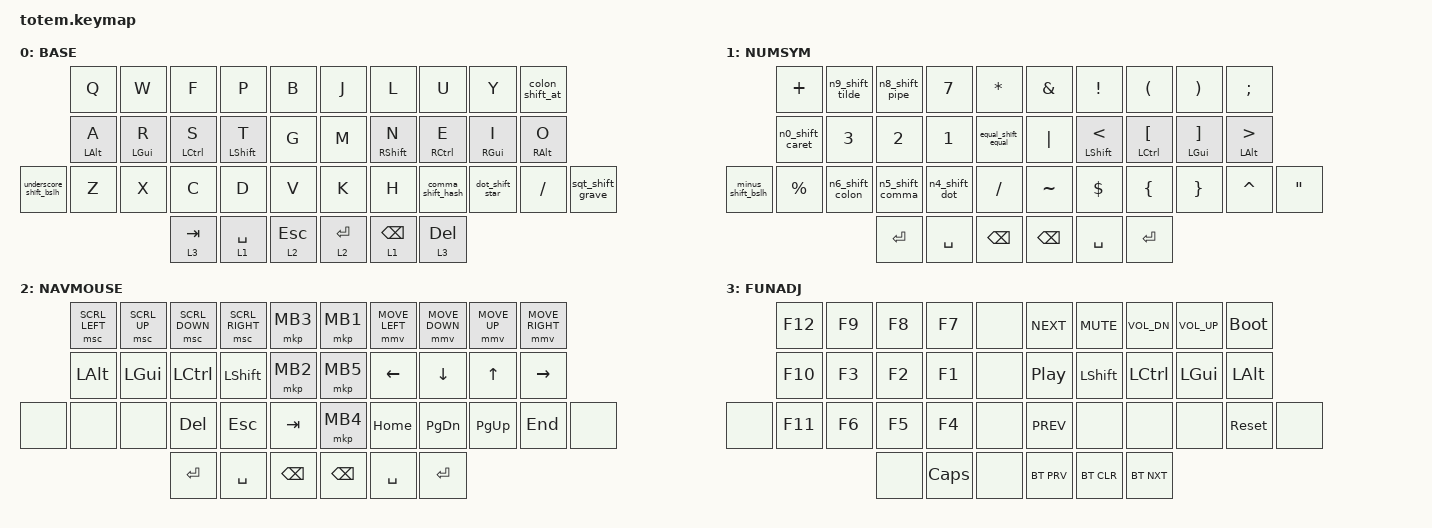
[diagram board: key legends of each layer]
//
//                                                        ▀▀▀▀▀     ▀▀▀▀▀          ▀▀█▀▀
//                                                        ▄▀▀▀▄  ▄  ▄▀▀▀▄  ▄  ▄▀▀▀▄  █  ▄▀▀▀▄
//                                                        █   █  █  █   █  █  █   █  █  █   █
//                                                         ▀▀▀   █   ▀▀▀   █   ▀▀▀   ▀   ▀▀▀
//                                                               █      ▄▄▄█▄▄▄    █   █  
//                                                               ▀      █  █  █     █▄█
//                                                             ▀▀▀▀▀    █  █  █      ▀
//                                                                      ▀  ▀  ▀
//
// ▄▄▄▄▄▄▄▄▄▄▄▄▄▄▄▄▄▄▄▄▄▄▄▄▄▄▄▄▄▄▄▄▄▄▄▄▄▄▄▄▄▄▄▄▄▄▄▄▄▄▄▄▄▄▄▄▄▄▄▄▄▄▄▄▄▄▄▄▄▄▄▄▄▄▄▄▄▄▄▄▄▄▄▄▄▄▄▄▄▄▄▄▄▄▄▄▄▄▄▄▄▄▄▄▄▄▄▄▄▄▄▄▄▄▄▄▄▄▄▄▄▄▄▄▄▄▄▄▄▄▄▄▄▄▄▄▄▄▄▄▄▄▄▄▄▄▄▄▄

#include <behaviors.dtsi>
#include <dt-bindings/zmk/bt.h>
#include <dt-bindings/zmk/keys.h>
#include <dt-bindings/zmk/pointing.h>

&mt {
    quick-tap-ms = <100>;
    global-quick-tap;
    flavor = "tap-preferred";
    tapping-term-ms = <170>;
};

/ {
    combos {
        compatible = "zmk,combos";

        capsword {
            bindings = <&caps_word>;
            key-positions = <20 31>;
        };
    };

    behaviors {
        n4_shift_dot: n4_shift_dot {
            compatible = "zmk,behavior-mod-morph";
            label = "N4_SHIFT_DOT";
            bindings = <&kp NUMBER_4>, <&kp DOT>;

            #binding-cells = <0>;
            mods = <(MOD_LSFT)>;
        };

        n5_shift_comma: n5_shift_comma {
            compatible = "zmk,behavior-mod-morph";
            label = "N5_SHIFT_COMMA";
            bindings = <&kp NUMBER_5>, <&kp COMMA>;

            #binding-cells = <0>;
            mods = <(MOD_LSFT)>;
        };

        n6_shift_colon: n6_shift_colon {
            compatible = "zmk,behavior-mod-morph";
            label = "N6_SHIFT_COLON";
            bindings = <&kp NUMBER_6>, <&kp COLON>;

            #binding-cells = <0>;
            mods = <(MOD_LSFT)>;
        };

        n8_shift_pipe: n8_shift_pipe {
            compatible = "zmk,behavior-mod-morph";
            label = "N8_SHIFT_PIPE";
            bindings = <&kp NUMBER_8>, <&kp PIPE>;

            #binding-cells = <0>;
            mods = <(MOD_LSFT)>;
        };

        n9_shift_tilde: n9_shift_tilde {
            compatible = "zmk,behavior-mod-morph";
            label = "N9_SHIFT_TILDE";
            bindings = <&kp NUMBER_9>, <&kp TILDE>;

            #binding-cells = <0>;
            mods = <(MOD_LSFT)>;
        };

        n0_shift_caret: n0_shift_caret {
            compatible = "zmk,behavior-mod-morph";
            label = "N0_SHIFT_CARET";
            bindings = <&kp NUMBER_0>, <&kp CARET>;

            #binding-cells = <0>;
            mods = <(MOD_LSFT)>;
        };

        colon_shift_at: colon_shift_at {
            compatible = "zmk,behavior-mod-morph";
            label = "COLON_SHIFT_AT";
            bindings = <&kp COLON>, <&kp AT>;

            #binding-cells = <0>;
            mods = <(MOD_LSFT)>;
        };

        comma_shift_hash: comma_shift_hash {
            compatible = "zmk,behavior-mod-morph";
            label = "COMMA_SHIFT_HASH";
            bindings = <&kp COMMA>, <&kp HASH>;

            #binding-cells = <0>;
            mods = <(MOD_LSFT)>;
        };

        dot_shift_star: dot_shift_star {
            compatible = "zmk,behavior-mod-morph";
            label = "DOT_SHIFT_STAR";
            bindings = <&kp DOT>, <&kp STAR>;

            #binding-cells = <0>;
            mods = <(MOD_LSFT)>;
        };

        sqt_shift_grave: sqt_shift_grave {
            compatible = "zmk,behavior-mod-morph";
            label = "SQT_SHIFT_GRAVE";
            bindings = <&kp SQT>, <&kp GRAVE>;

            #binding-cells = <0>;
            mods = <(MOD_LSFT)>;
        };

        underscore_shift_bslh: underscore_shift_bslh {
            compatible = "zmk,behavior-mod-morph";
            label = "UNDERSCORE_SHIFT_BSLH";
            bindings = <&kp UNDERSCORE>, <&kp BSLH>;

            #binding-cells = <0>;
            mods = <(MOD_LSFT)>;
        };

        minus_shift_bslh: minus_shift_bslh {
            compatible = "zmk,behavior-mod-morph";
            label = "MINUS_SHIFT_BSLH";
            bindings = <&kp MINUS>, <&kp BSLH>;

            #binding-cells = <0>;
            mods = <(MOD_LSFT)>;
        };

        equal_shift_equal: equal_shift_equal {
            compatible = "zmk,behavior-mod-morph";
            label = "EQUAL_SHIFT_EQUAL";
            bindings = <&kp EQUAL>, <&kp EQUAL>;

            #binding-cells = <0>;
            mods = <(MOD_LSFT)>;
        };
    };

    keymap {
        compatible = "zmk,keymap";

        // ▄▄▄▄▄▄▄▄▄▄▄▄▄▄▄▄▄▄▄▄▄▄▄▄▄▄▄▄▄▄▄▄▄▄▄▄▄▄▄▄▄▄▄▄▄▄▄▄▄▄▄▄▄▄▄▄▄▄▄▄▄▄▄▄▄▄▄▄▄▄▄▄▄▄▄▄▄▄▄▄▄▄▄▄▄▄▄▄▄▄▄▄▄▄▄▄▄▄▄▄▄▄▄▄▄▄▄▄▄▄▄▄▄▄▄▄▄▄▄▄▄▄▄▄▄▄▄▄▄▄▄▄▄▄▄▄▄▄▄▄▄▄▄▄▄▄▄▄▄

        base_layer {
            // ┏━━━━━━━━━━━━━━━━━━━━━━━━━━━━━━━━━━━━━━━┓

            label = "BASE";

            // ┗━━━━━━━━━━━━━━━━━━━━━━━━━━━━━━━━━━━━━━━┛
            //             ┏━━━━━━━━━━━┳━━━━━━━━━━━┳━━━━━━━━━━━┳━━━━━━━━━━━┳━━━━━━━━━━━┓   ┏━━━━━━━━━━━┳━━━━━━━━━━━┳━━━━━━━━━━━┳━━━━━━━━━━━┳━━━━━━━━━━━┓
            //             ┃     Q     ┃     W     ┃     F     ┃     P     ┃     B     ┃   ┃     J     ┃     L     ┃     U     ┃     Y     ┃     :     ┃
            //             ┣━━━━━━━━━━━╋━━━━━━━━━━━╋━━━━━━━━━━━╋━━━━━━━━━━━╋━━━━━━━━━━━┫   ┣━━━━━━━━━━━╋━━━━━━━━━━━╋━━━━━━━━━━━╋━━━━━━━━━━━╋━━━━━━━━━━━┫
            //             ┃     A     ┃     R     ┃     S     ┃     T     ┃     G     ┃   ┃     M     ┃     N     ┃     E     ┃     I     ┃     O     ┃
            // ┏━━━━━━━━━━━╋━━━━━━━━━━━╋━━━━━━━━━━━╋━━━━━━━━━━━╋━━━━━━━━━━━╋━━━━━━━━━━━┫   ┣━━━━━━━━━━━╋━━━━━━━━━━━╋━━━━━━━━━━━╋━━━━━━━━━━━╋━━━━━━━━━━━╋━━━━━━━━━━━┓
            // ┃     _     ┃     Z     ┃     X     ┃     C     ┃     D     ┃     V     ┃   ┃     K     ┃     H     ┃     ,     ┃     .     ┃     /     ┃     '     ┃
            // ┗━━━━━━━━━━━┻━━━━━━━━━━━┻━━━━━━━━━━━╋━━━━━━━━━━━╋━━━━━━━━━━━╋━━━━━━━━━━━┫   ┣━━━━━━━━━━━╋━━━━━━━━━━━╋━━━━━━━━━━━╋━━━━━━━━━━━┻━━━━━━━━━━━┻━━━━━━━━━━━┛
            //                                     ┃    TAB    ┃    SPC    ┃    ESC    ┃   ┃   ENTER   ┃    BSPC   ┃   DEL     ┃
            //                                     ┗━━━━━━━━━━━┻━━━━━━━━━━━┻━━━━━━━━━━━┛   ┗━━━━━━━━━━━┻━━━━━━━━━━━┻━━━━━━━━━━━┛

            bindings = <
                        &kp Q           &kp W       &kp F        &kp P        &kp B        &kp J        &kp L            &kp U              &kp Y            &colon_shift_at
                        &mt LEFT_ALT A  &mt LGUI R  &mt LCTRL S  &mt LSHFT T  &kp G        &kp M        &mt RSHFT N      &mt RCTRL E        &mt RGUI I       &mt RALT O
&underscore_shift_bslh  &kp Z           &kp X       &kp C        &kp D        &kp V        &kp K        &kp H            &comma_shift_hash  &dot_shift_star  &kp FSLH         &sqt_shift_grave
                                                    &lt 3 TAB    &lt 1 SPACE  &lt 2 ESC    &lt 2 ENTER  &lt 1 BACKSPACE  &lt 3 DEL
            >;
        };

        // ▄▄▄▄▄▄▄▄▄▄▄▄▄▄▄▄▄▄▄▄▄▄▄▄▄▄▄▄▄▄▄▄▄▄▄▄▄▄▄▄▄▄▄▄▄▄▄▄▄▄▄▄▄▄▄▄▄▄▄▄▄▄▄▄▄▄▄▄▄▄▄▄▄▄▄▄▄▄▄▄▄▄▄▄▄▄▄▄▄▄▄▄▄▄▄▄▄▄▄▄▄▄▄▄▄▄▄▄▄▄▄▄▄▄▄▄▄▄▄▄▄▄▄▄▄▄▄▄▄▄▄▄▄▄▄▄▄▄▄▄▄▄▄▄▄▄▄▄▄

        num_sym_layer {
            // ┏━━━━━━━━━━━━━━━━━━━━━━━━━━━━━━━━━━━━━━━┓

            label = "NUMSYM";

            // ┗━━━━━━━━━━━━━━━━━━━━━━━━━━━━━━━━━━━━━━━┛
            //             ┏━━━━━━━━━━━┳━━━━━━━━━━━┳━━━━━━━━━━━┳━━━━━━━━━━━┳━━━━━━━━━━━┓   ┏━━━━━━━━━━━┳━━━━━━━━━━━┳━━━━━━━━━━━┳━━━━━━━━━━━┳━━━━━━━━━━━┓
            //             ┃     +     ┃     9     ┃     8     ┃     7     ┃     *     ┃   ┃     &     ┃     !     ┃     (     ┃     )     ┃     ;     ┃
            //             ┣━━━━━━━━━━━╋━━━━━━━━━━━╋━━━━━━━━━━━╋━━━━━━━━━━━╋━━━━━━━━━━━┫   ┣━━━━━━━━━━━╋━━━━━━━━━━━╋━━━━━━━━━━━╋━━━━━━━━━━━╋━━━━━━━━━━━┫
            //             ┃     0     ┃     3     ┃     2     ┃     1     ┃     =     ┃   ┃     |     ┃     <     ┃     [     ┃     ]     ┃     >     ┃
            // ┏━━━━━━━━━━━╋━━━━━━━━━━━╋━━━━━━━━━━━╋━━━━━━━━━━━╋━━━━━━━━━━━╋━━━━━━━━━━━┫   ┣━━━━━━━━━━━╋━━━━━━━━━━━╋━━━━━━━━━━━╋━━━━━━━━━━━╋━━━━━━━━━━━╋━━━━━━━━━━━┓
            // ┃     -     ┃     %     ┃     6     ┃     5     ┃     4     ┃     /     ┃   ┃     ~     ┃     $     ┃     {     ┃     }     ┃     ^     ┃     "     ┃
            // ┗━━━━━━━━━━━┻━━━━━━━━━━━┻━━━━━━━━━━━╋━━━━━━━━━━━╋━━━━━━━━━━━╋━━━━━━━━━━━┫   ┣━━━━━━━━━━━╋━━━━━━━━━━━╋━━━━━━━━━━━╋━━━━━━━━━━━┻━━━━━━━━━━━┻━━━━━━━━━━━┛
            //                                     ┃   ENTER   ┃    SPC    ┃    BSPC   ┃   ┃    BSPC   ┃    SPC    ┃   ENTER   ┃
            //                                     ┗━━━━━━━━━━━┻━━━━━━━━━━━┻━━━━━━━━━━━┛   ┗━━━━━━━━━━━┻━━━━━━━━━━━┻━━━━━━━━━━━┛

            bindings = <
                   &kp PLUS         &n9_shift_tilde  &n8_shift_pipe   &kp NUMBER_7   &kp ASTRK             &kp AMPS       &kp EXCL      &kp LPAR        &kp RPAR       &kp SEMI
                   &n0_shift_caret  &kp NUMBER_3     &kp NUMBER_2     &kp NUMBER_1   &equal_shift_equal    &kp PIPE       &mt LSHFT LT  &mt LCTRL LBKT  &mt LGUI RBKT  &mt LALT GT
&minus_shift_bslh  &kp PRCNT        &n6_shift_colon  &n5_shift_comma  &n4_shift_dot  &kp FSLH              &kp TILDE      &kp DLLR      &kp LBRC        &kp RBRC       &kp CARET    &kp DQT
                                                     &kp ENTER        &kp SPACE      &kp BACKSPACE         &kp BACKSPACE  &kp SPACE     &kp ENTER
            >;
        };

        // ▄▄▄▄▄▄▄▄▄▄▄▄▄▄▄▄▄▄▄▄▄▄▄▄▄▄▄▄▄▄▄▄▄▄▄▄▄▄▄▄▄▄▄▄▄▄▄▄▄▄▄▄▄▄▄▄▄▄▄▄▄▄▄▄▄▄▄▄▄▄▄▄▄▄▄▄▄▄▄▄▄▄▄▄▄▄▄▄▄▄▄▄▄▄▄▄▄▄▄▄▄▄▄▄▄▄▄▄▄▄▄▄▄▄▄▄▄▄▄▄▄▄▄▄▄▄▄▄▄▄▄▄▄▄▄▄▄▄▄▄▄▄▄▄▄▄▄▄▄

        nav_mouse_layer {
            // ┏━━━━━━━━━━━━━━━━━━━━━━━━━━━━━━━━━━━━━━━┓

            label = "NAVMOUSE";

            // ┗━━━━━━━━━━━━━━━━━━━━━━━━━━━━━━━━━━━━━━━┛
            //             ┏━━━━━━━━━━━┳━━━━━━━━━━━┳━━━━━━━━━━━┳━━━━━━━━━━━┳━━━━━━━━━━━┓   ┏━━━━━━━━━━━┳━━━━━━━━━━━┳━━━━━━━━━━━┳━━━━━━━━━━━┳━━━━━━━━━━━┓
            //             ┃   SLEFT   ┃    SUP    ┃   SDOWN   ┃   SRIGHT  ┃    MB3    ┃   ┃    MB1    ┃   MLEFT   ┃   MDOWN   ┃    MUP    ┃   MRIGHT  ┃
            //             ┣━━━━━━━━━━━╋━━━━━━━━━━━╋━━━━━━━━━━━╋━━━━━━━━━━━╋━━━━━━━━━━━┫   ┣━━━━━━━━━━━╋━━━━━━━━━━━╋━━━━━━━━━━━╋━━━━━━━━━━━╋━━━━━━━━━━━┫
            //             ┃    LALT   ┃    LGUI   ┃    LCTL   ┃    LSHT   ┃    MB2    ┃   ┃    MB5    ┃    LEFT   ┃    DOWN   ┃    UP     ┃   RIGHT   ┃
            // ┏━━━━━━━━━━━╋━━━━━━━━━━━╋━━━━━━━━━━━╋━━━━━━━━━━━╋━━━━━━━━━━━╋━━━━━━━━━━━┫   ┣━━━━━━━━━━━╋━━━━━━━━━━━╋━━━━━━━━━━━╋━━━━━━━━━━━╋━━━━━━━━━━━╋━━━━━━━━━━━┓
            // ┃           ┃           ┃           ┃    DEL    ┃    ESC    ┃    TAB    ┃   ┃    MB4    ┃    HOME   ┃    PGDW   ┃    PGUP   ┃    END    ┃           ┃
            // ┗━━━━━━━━━━━┻━━━━━━━━━━━┻━━━━━━━━━━━╋━━━━━━━━━━━╋━━━━━━━━━━━╋━━━━━━━━━━━┫   ┣━━━━━━━━━━━╋━━━━━━━━━━━╋━━━━━━━━━━━╋━━━━━━━━━━━┻━━━━━━━━━━━┻━━━━━━━━━━━┛
            //                                     ┃   ENTER   ┃    SPC    ┃    BSPC   ┃   ┃    BSPC   ┃    SPC    ┃   ENTER   ┃
            //                                     ┗━━━━━━━━━━━┻━━━━━━━━━━━┻━━━━━━━━━━━┛   ┗━━━━━━━━━━━┻━━━━━━━━━━━┻━━━━━━━━━━━┛

            bindings = <
       &msc SCRL_LEFT  &msc SCRL_UP  &msc SCRL_DOWN  &msc SCRL_RIGHT  &mkp MB3    &mkp MB1  &mmv MOVE_LEFT  &mmv MOVE_DOWN  &mmv MOVE_UP  &mmv MOVE_RIGHT
       &kp LALT        &kp LGUI      &kp LCTRL       &kp LSHFT        &mkp MB2    &mkp MB5  &kp LEFT        &kp DOWN        &kp UP        &kp RIGHT
&none  &none           &none         &kp DEL         &kp ESC          &kp TAB     &mkp MB4  &kp HOME        &kp PAGE_DOWN   &kp PAGE_UP   &kp END          &none
                                     &kp ENTER       &kp SPACE        &kp BSPC    &kp BSPC  &kp SPACE       &kp ENTER
            >;
        };

        // ▄▄▄▄▄▄▄▄▄▄▄▄▄▄▄▄▄▄▄▄▄▄▄▄▄▄▄▄▄▄▄▄▄▄▄▄▄▄▄▄▄▄▄▄▄▄▄▄▄▄▄▄▄▄▄▄▄▄▄▄▄▄▄▄▄▄▄▄▄▄▄▄▄▄▄▄▄▄▄▄▄▄▄▄▄▄▄▄▄▄▄▄▄▄▄▄▄▄▄▄▄▄▄▄▄▄▄▄▄▄▄▄▄▄▄▄▄▄▄▄▄▄▄▄▄▄▄▄▄▄▄▄▄▄▄▄▄▄▄▄▄▄▄▄▄▄▄▄▄

        fun_adj_layer {
            // ┏━━━━━━━━━━━━━━━━━━━━━━━━━━━━━━━━━━━━━━━┓

            label = "FUNADJ";

            // ┗━━━━━━━━━━━━━━━━━━━━━━━━━━━━━━━━━━━━━━━┛
            //             ┏━━━━━━━━━━━┳━━━━━━━━━━━┳━━━━━━━━━━━┳━━━━━━━━━━━┳━━━━━━━━━━━┓   ┏━━━━━━━━━━━┳━━━━━━━━━━━┳━━━━━━━━━━━┳━━━━━━━━━━━┳━━━━━━━━━━━┓
            //             ┃    F12    ┃    F9     ┃    F8     ┃    F7     ┃           ┃   ┃    NEXT   ┃    MUTE   ┃    VOL-   ┃    VOL+   ┃    BOOT   ┃
            //             ┣━━━━━━━━━━━╋━━━━━━━━━━━╋━━━━━━━━━━━╋━━━━━━━━━━━╋━━━━━━━━━━━┫   ┣━━━━━━━━━━━╋━━━━━━━━━━━╋━━━━━━━━━━━╋━━━━━━━━━━━╋━━━━━━━━━━━┫
            //             ┃    F10    ┃    F3     ┃    F2     ┃    F1     ┃           ┃   ┃    PP     ┃    LSHT   ┃    LCTL   ┃    LGUI   ┃    LALT   ┃
            // ┏━━━━━━━━━━━╋━━━━━━━━━━━╋━━━━━━━━━━━╋━━━━━━━━━━━╋━━━━━━━━━━━╋━━━━━━━━━━━┫   ┣━━━━━━━━━━━╋━━━━━━━━━━━╋━━━━━━━━━━━╋━━━━━━━━━━━╋━━━━━━━━━━━╋━━━━━━━━━━━┓
            // ┃           ┃    F11    ┃    F6     ┃    F5     ┃    F4     ┃           ┃   ┃    PREV   ┃           ┃           ┃           ┃   RESET   ┃           ┃
            // ┗━━━━━━━━━━━┻━━━━━━━━━━━┻━━━━━━━━━━━╋━━━━━━━━━━━╋━━━━━━━━━━━╋━━━━━━━━━━━┫   ┣━━━━━━━━━━━╋━━━━━━━━━━━╋━━━━━━━━━━━╋━━━━━━━━━━━┻━━━━━━━━━━━┻━━━━━━━━━━━┛
            //                                     ┃           ┃    CAPS   ┃           ┃   ┃  BT PREV  ┃  BT CLEAR ┃  BT NEXT  ┃
            //                                     ┗━━━━━━━━━━━┻━━━━━━━━━━━┻━━━━━━━━━━━┛   ┗━━━━━━━━━━━┻━━━━━━━━━━━┻━━━━━━━━━━━┛

            bindings = <
       &kp F12  &kp F9  &kp F8  &kp F7    &none    &kp C_NEXT        &kp K_MUTE  &kp C_VOL_DN  &kp C_VOL_UP  &bootloader
       &kp F10  &kp F3  &kp F2  &kp F1    &none    &kp C_PLAY_PAUSE  &kp LSHFT   &kp LCTRL     &kp LGUI      &kp LALT
&none  &kp F11  &kp F6  &kp F5  &kp F4    &none    &kp C_PREV        &none       &none         &none         &sys_reset   &none
                        &none   &kp CAPS  &none    &bt BT_PRV        &bt BT_CLR  &bt BT_NXT
            >;
        };

        // ▄▄▄▄▄▄▄▄▄▄▄▄▄▄▄▄▄▄▄▄▄▄▄▄▄▄▄▄▄▄▄▄▄▄▄▄▄▄▄▄▄▄▄▄▄▄▄▄▄▄▄▄▄▄▄▄▄▄▄▄▄▄▄▄▄▄▄▄▄▄▄▄▄▄▄▄▄▄▄▄▄▄▄▄▄▄▄▄▄▄▄▄▄▄▄▄▄▄▄▄▄▄▄▄▄▄▄▄▄▄▄▄▄▄▄▄▄▄▄▄▄▄▄▄▄▄▄▄▄▄▄▄▄▄▄▄▄▄▄▄▄▄▄▄▄▄▄▄▄
        // ▄▄▄▄▄▄▄▄▄▄▄▄▄▄▄▄▄▄▄▄▄▄▄▄▄▄▄▄▄▄▄▄▄▄▄▄▄▄▄▄▄▄▄▄▄▄▄▄▄▄▄▄▄▄▄▄▄▄▄▄▄▄▄▄▄▄▄▄▄▄▄▄▄▄▄▄▄▄▄▄▄▄▄▄▄▄▄▄▄▄▄▄▄▄▄▄▄▄▄▄▄▄▄▄▄▄▄▄▄▄▄▄▄▄▄▄▄▄▄▄▄▄▄▄▄▄▄▄▄▄▄▄▄▄▄▄▄▄▄▄▄▄▄▄▄▄▄▄▄
    };
};
